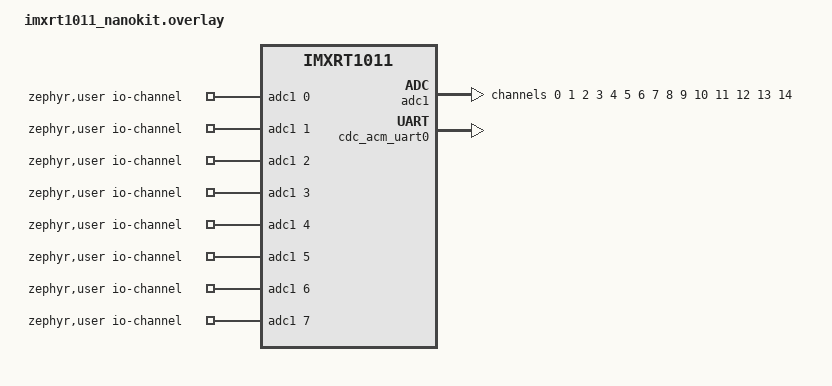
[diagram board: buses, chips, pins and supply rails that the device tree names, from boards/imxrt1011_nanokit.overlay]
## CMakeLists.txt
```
#
# Copyright (c) 2016-2024 Makerdiary <https://makerdiary.com>
#
# SPDX-License-Identifier: Apache-2.0
#

cmake_minimum_required(VERSION 3.20.0)

find_package(Zephyr REQUIRED HINTS $ENV{ZEPHYR_BASE})
project(ADC)

target_sources(app PRIVATE src/main.c)
```

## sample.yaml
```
sample:
  name: ADC sample
common:
  build_only: true
  integration_platforms:
    - imxrt1011_nanokit
tests:
  sample.adc: {}
  sample.adc.nouf2:
    extra_args: EXTRA_CONF_FILE=overlay-nouf2.conf
```

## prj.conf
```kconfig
#
# Copyright (c) 2016-2024 Makerdiary <https://makerdiary.com>
#
# SPDX-License-Identifier: Apache-2.0
#

CONFIG_ADC=y

# To build the sample when working with the UF2 Bootloader
CONFIG_BUILD_OUTPUT_UF2=y
```

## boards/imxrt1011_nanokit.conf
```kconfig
#
# Copyright (c) 2016-2024 Makerdiary <https://makerdiary.com>
#
# SPDX-License-Identifier: Apache-2.0
#

CONFIG_SERIAL=y
CONFIG_CONSOLE=y
CONFIG_UART_CONSOLE=y
CONFIG_UART_LINE_CTRL=y

# USB subsystem configuration
CONFIG_USB_DEVICE_STACK=y
CONFIG_USB_DEVICE_PRODUCT="Zephyr USB Console"
CONFIG_USB_DEVICE_INITIALIZE_AT_BOOT=y
```

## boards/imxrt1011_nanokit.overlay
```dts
/*
 * Copyright (c) 2016-2024 Makerdiary <https://makerdiary.com>
 *
 * SPDX-License-Identifier: Apache-2.0
 */

/ {
    chosen {
        zephyr,console = &cdc_acm_uart0;
    };
    zephyr,user {
        io-channels = <&adc1 0>,
                      <&adc1 1>,
                      <&adc1 2>,
                      <&adc1 3>,
                      <&adc1 4>,
                      <&adc1 5>,
                      <&adc1 6>,
                      <&adc1 7>,
                      <&adc1 8>,
                      <&adc1 9>,
                      <&adc1 10>,
                      <&adc1 11>,
                      <&adc1 12>,
                      <&adc1 13>,
                      <&adc1 14>;
    };
};

&adc1 {
    status = "okay";
    pinctrl-0 = <&pinmux_adc1>;
    pinctrl-names = "default";

    #address-cells = <1>;
    #size-cells = <0>;

    channel@0 {
        reg = <0>;
        zephyr,gain = "ADC_GAIN_1";
        zephyr,reference = "ADC_REF_INTERNAL";
        zephyr,acquisition-time = <ADC_ACQ_TIME_DEFAULT>;
        zephyr,resolution = <12>;
    };
    channel@1 {
        reg = <1>;
        zephyr,gain = "ADC_GAIN_1";
        zephyr,reference = "ADC_REF_INTERNAL";
        zephyr,acquisition-time = <ADC_ACQ_TIME_DEFAULT>;
        zephyr,resolution = <12>;
    };
    channel@2 {
        reg = <2>;
        zephyr,gain = "ADC_GAIN_1";
        zephyr,reference = "ADC_REF_INTERNAL";
        zephyr,acquisition-time = <ADC_ACQ_TIME_DEFAULT>;
        zephyr,resolution = <12>;
    };
    channel@3 {
        reg = <3>;
        zephyr,gain = "ADC_GAIN_1";
        zephyr,reference = "ADC_REF_INTERNAL";
        zephyr,acquisition-time = <ADC_ACQ_TIME_DEFAULT>;
        zephyr,resolution = <12>;
    };
    channel@4 {
        reg = <4>;
        zephyr,gain = "ADC_GAIN_1";
        zephyr,reference = "ADC_REF_INTERNAL";
        zephyr,acquisition-time = <ADC_ACQ_TIME_DEFAULT>;
        zephyr,resolution = <12>;
    };
    channel@5 {
        reg = <5>;
        zephyr,gain = "ADC_GAIN_1";
        zephyr,reference = "ADC_REF_INTERNAL";
        zephyr,acquisition-time = <ADC_ACQ_TIME_DEFAULT>;
        zephyr,resolution = <12>;
    };
    channel@6 {
        reg = <6>;
        zephyr,gain = "ADC_GAIN_1";
        zephyr,reference = "ADC_REF_INTERNAL";
        zephyr,acquisition-time = <ADC_ACQ_TIME_DEFAULT>;
        zephyr,resolution = <12>;
    };
    channel@7 {
        reg = <7>;
        zephyr,gain = "ADC_GAIN_1";
        zephyr,reference = "ADC_REF_INTERNAL";
        zephyr,acquisition-time = <ADC_ACQ_TIME_DEFAULT>;
        zephyr,resolution = <12>;
    };
    channel@8 {
        reg = <8>;
        zephyr,gain = "ADC_GAIN_1";
        zephyr,reference = "ADC_REF_INTERNAL";
        zephyr,acquisition-time = <ADC_ACQ_TIME_DEFAULT>;
        zephyr,resolution = <12>;
    };
    channel@9 {
        reg = <9>;
        zephyr,gain = "ADC_GAIN_1";
        zephyr,reference = "ADC_REF_INTERNAL";
        zephyr,acquisition-time = <ADC_ACQ_TIME_DEFAULT>;
        zephyr,resolution = <12>;
    };
    channel@a {
        reg = <10>;
        zephyr,gain = "ADC_GAIN_1";
        zephyr,reference = "ADC_REF_INTERNAL";
        zephyr,acquisition-time = <ADC_ACQ_TIME_DEFAULT>;
        zephyr,resolution = <12>;
    };
    channel@b {
        reg = <11>;
        zephyr,gain = "ADC_GAIN_1";
        zephyr,reference = "ADC_REF_INTERNAL";
        zephyr,acquisition-time = <ADC_ACQ_TIME_DEFAULT>;
        zephyr,resolution = <12>;
    };
    channel@c {
        reg = <12>;
        zephyr,gain = "ADC_GAIN_1";
        zephyr,reference = "ADC_REF_INTERNAL";
        zephyr,acquisition-time = <ADC_ACQ_TIME_DEFAULT>;
        zephyr,resolution = <12>;
    };
    channel@d {
        reg = <13>;
        zephyr,gain = "ADC_GAIN_1";
        zephyr,reference = "ADC_REF_INTERNAL";
        zephyr,acquisition-time = <ADC_ACQ_TIME_DEFAULT>;
        zephyr,resolution = <12>;
    };
    channel@e {
        reg = <14>;
        zephyr,gain = "ADC_GAIN_1";
        zephyr,reference = "ADC_REF_INTERNAL";
        zephyr,acquisition-time = <ADC_ACQ_TIME_DEFAULT>;
        zephyr,resolution = <12>;
    };
};

&pinctrl {
    pinmux_adc1: pinmux_adc1 {
        group0 {
            pinmux = <&iomuxc_gpio_ad_00_adc1_in0>,
                     <&iomuxc_gpio_ad_01_adc1_in1>,
                     <&iomuxc_gpio_ad_02_adc1_in2>,
                     <&iomuxc_gpio_ad_03_adc1_in3>,
                     <&iomuxc_gpio_ad_04_adc1_in4>,
                     <&iomuxc_gpio_ad_05_adc1_in5>,
                     <&iomuxc_gpio_ad_06_adc1_in6>,
                     <&iomuxc_gpio_ad_07_adc1_in7>,
                     <&iomuxc_gpio_ad_08_adc1_in8>,
                     <&iomuxc_gpio_ad_09_adc1_in9>,
                     <&iomuxc_gpio_ad_10_adc1_in10>,
                     <&iomuxc_gpio_ad_11_adc1_in11>,
                     <&iomuxc_gpio_ad_12_adc1_in12>,
                     <&iomuxc_gpio_ad_13_adc1_in13>,
                     <&iomuxc_gpio_ad_14_adc1_in14>;
            drive-strength = "r0-4";
            slew-rate = "slow";
            nxp,speed = "100-mhz";
        };
    };
};

&zephyr_udc0 {
    cdc_acm_uart0: cdc_acm_uart0 {
        compatible = "zephyr,cdc-acm-uart";
    };
};
```

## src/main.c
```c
/*
 * Copyright (c) 2020 Libre Solar Technologies GmbH
 *
 * SPDX-License-Identifier: Apache-2.0
 */

#include <inttypes.h>
#include <stddef.h>
#include <stdint.h>

#include <zephyr/device.h>
#include <zephyr/devicetree.h>
#include <zephyr/drivers/adc.h>
#include <zephyr/kernel.h>
#include <zephyr/sys/printk.h>
#include <zephyr/sys/util.h>

#if !DT_NODE_EXISTS(DT_PATH(zephyr_user)) || \
    !DT_NODE_HAS_PROP(DT_PATH(zephyr_user), io_channels)
#error "No suitable devicetree overlay specified"
#endif

#define DT_SPEC_AND_COMMA(node_id, prop, idx) \
    ADC_DT_SPEC_GET_BY_IDX(node_id, idx),

/* Data of ADC io-channels specified in devicetree. */
static const struct adc_dt_spec adc_channels[] = {
    DT_FOREACH_PROP_ELEM(DT_PATH(zephyr_user), io_channels,
                 DT_SPEC_AND_COMMA)
};

int main(void)
{
    int err;
    uint32_t count = 0;
    uint16_t buf;
    struct adc_sequence sequence = {
        .buffer = &buf,
        /* buffer size in bytes, not number of samples */
        .buffer_size = sizeof(buf),
    };

    /* Configure channels individually prior to sampling. */
    for (size_t i = 0U; i < ARRAY_SIZE(adc_channels); i++) {
        if (!adc_is_ready_dt(&adc_channels[i])) {
            printk("ADC controller device %s not ready\n", adc_channels[i].dev->name);
            return 0;
        }

        err = adc_channel_setup_dt(&adc_channels[i]);
        if (err < 0) {
            printk("Could not setup channel #%d (%d)\n", i, err);
            return 0;
        }
    }

    while (1) {
        printk("ADC reading[%u]:\n", count++);
        for (size_t i = 0U; i < ARRAY_SIZE(adc_channels); i++) {
            int32_t val_mv;

            printk("- %s, channel %d: ",
                   adc_channels[i].dev->name,
                   adc_channels[i].channel_id);

            (void)adc_sequence_init_dt(&adc_channels[i], &sequence);

            err = adc_read_dt(&adc_channels[i], &sequence);
            if (err < 0) {
                printk("Could not read (%d)\n", err);
                continue;
            }

            /*
             * If using differential mode, the 16 bit value
             * in the ADC sample buffer should be a signed 2's
             * complement value.
             */
            if (adc_channels[i].channel_cfg.differential) {
                val_mv = (int32_t)((int16_t)buf);
            } else {
                val_mv = (int32_t)buf;
            }
            printk("%"PRId32, val_mv);
            err = adc_raw_to_millivolts_dt(&adc_channels[i],
                               &val_mv);
            /* conversion to mV may not be supported, skip if not */
            if (err < 0) {
                printk(" (value in mV not available)\n");
            } else {
                printk(" = %"PRId32" mV\n", val_mv);
            }
        }

        k_sleep(K_MSEC(1000));
    }
    return 0;
}
```
